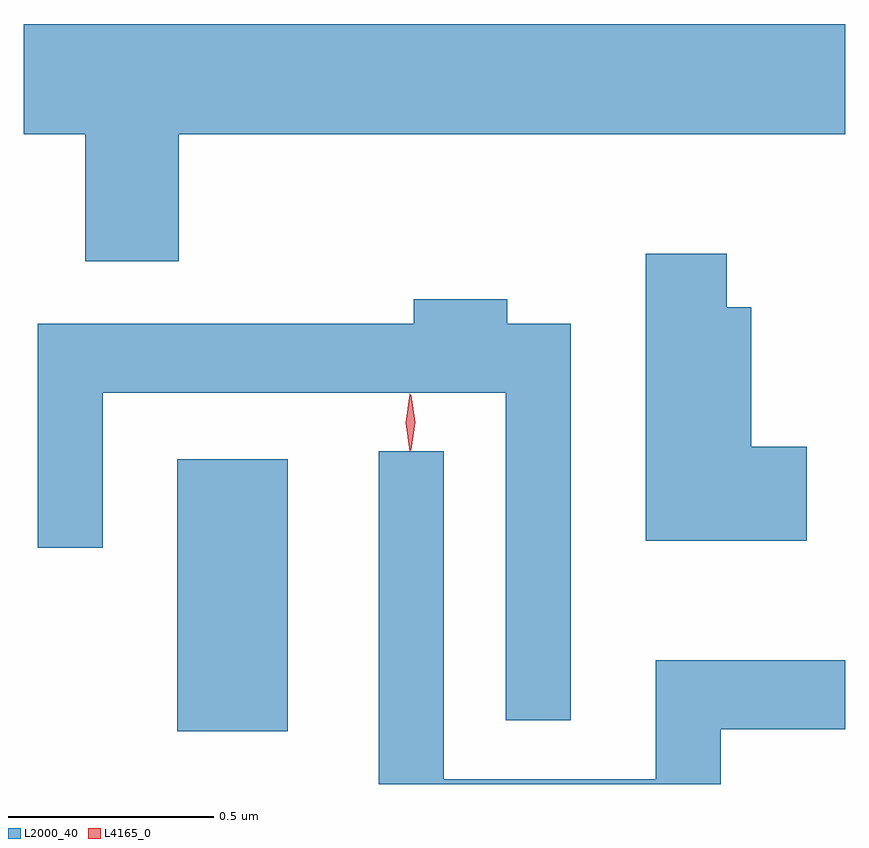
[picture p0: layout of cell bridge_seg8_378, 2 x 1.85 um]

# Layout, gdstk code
import gdstk
lib = gdstk.Library(unit=1e-6, precision=1e-09)
def R(c, l, rs):  # rectangles x0, y0, x1, y1
    for r in rs: c.add(gdstk.rectangle(r[:2], r[2:], *l))
def P(c, l, *ps):  # polygons
    for p in ps: c.add(gdstk.Polygon(p, *l))
L2000_40 = (2000, 40)
L4165_0 = (4165, 0)

bridge_seg8_378 = lib.new_cell('bridge_seg8_378')
R(bridge_seg8_378, L2000_40, [(739.926,1919.321,740.194,1919.984)])
P(bridge_seg8_378, L2000_40, [(739.929,1920.776),(741.552,1920.776),(741.552,1921.044),(739.552,1921.044),(739.552,1920.776),(739.701,1920.776),(739.701,1920.466),(739.929,1920.466)],
  [(741.459,1920.014),(741.324,1920.014),(741.324,1920.354),(741.264,1920.354),(741.264,1920.484),(741.066,1920.484),(741.066,1919.786),(741.459,1919.786)],
  [(740.884,1920.314),(740.729,1920.314),(740.729,1920.374),(740.501,1920.374),(740.501,1920.314),(739.586,1920.314),(739.586,1919.768),(739.744,1919.768),(739.744,1920.146),(740.726,1920.146),(740.726,1919.348),(740.884,1919.348)],
  [(741.249,1919.326),(741.552,1919.326),(741.552,1919.494),(741.091,1919.494),(741.091,1919.204),(740.574,1919.204),(740.574,1920.003),(740.416,1920.003),(740.416,1919.193),(741.249,1919.193)])
P(bridge_seg8_378, L4165_0, [(740.494,1920.007),(740.485,1920.074),(740.494,1920.14),(740.495,1920.14),(740.495,1920.14),(740.505,1920.074),(740.495,1920.007),(740.495,1920.007)],
  [(740.492,1920.003),(740.492,1920.004),(740.482,1920.073),(740.492,1920.142),(740.492,1920.143),(740.493,1920.142),(740.502,1920.073),(740.493,1920.004)])

lib.write_gds('bridge_seg8_378.gds')
